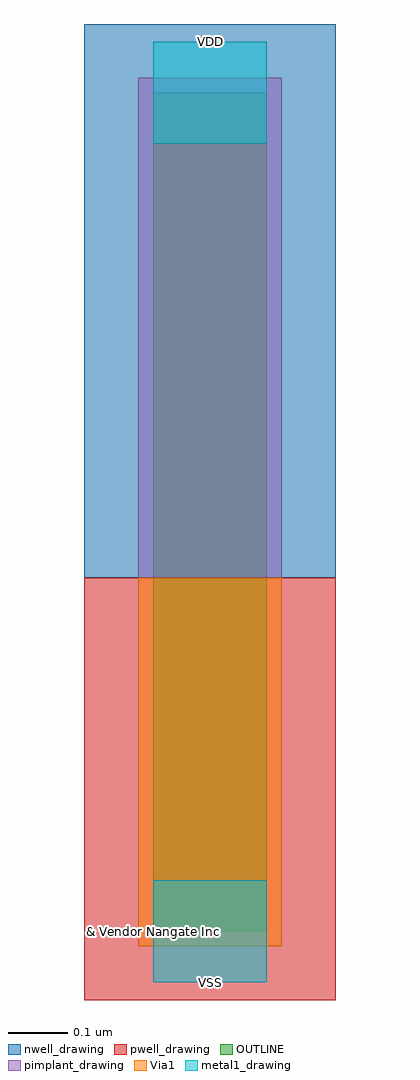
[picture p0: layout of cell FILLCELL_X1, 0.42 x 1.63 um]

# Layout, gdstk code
import gdstk
lib = gdstk.Library(unit=1e-6, precision=1e-10)
def R(c, l, rs):  # rectangles x0, y0, x1, y1
    for r in rs: c.add(gdstk.rectangle(r[:2], r[2:], *l))
pwell_drawing = (2, 0)
nwell_drawing = (3, 0)
Via1 = (4, 0)
pimplant_drawing = (5, 0)
metal1_drawing = (11, 0)
OUTLINE = (235, 0)

fillcell_x1 = lib.new_cell('FILLCELL_X1')
R(fillcell_x1, pwell_drawing, [(-0.115,-0.115,0.305,0.59)])
R(fillcell_x1, nwell_drawing, [(-0.115,0.59,0.305,1.515)])
R(fillcell_x1, Via1, [(-0.025,-0.025,0.215,0.59)])
R(fillcell_x1, pimplant_drawing, [(-0.025,0.59,0.215,1.425)])
R(fillcell_x1, metal1_drawing, [(0,-0.085,0.19,0.085), (0,1.315,0.19,1.485)])
R(fillcell_x1, OUTLINE, [(0,0,0.19,1.4)])
fillcell_x1.add(gdstk.Label('VDD', (0.095,1.485), layer=11, texttype=0))
fillcell_x1.add(gdstk.Label('VSS', (0.095,-0.085), layer=11, texttype=0))
fillcell_x1.add(gdstk.Label('& Vendor Nangate Inc', (0,0), layer=63, texttype=63))
fillcell_x1.add(gdstk.Label('& Product Open Cell Library', (0,0), layer=63, texttype=63))
fillcell_x1.add(gdstk.Label('& Version 2010_12', (0,0), layer=63, texttype=63))
fillcell_x1.add(gdstk.Label('& Instance FILLCELL_X1', (0,0), layer=63, texttype=63))

lib.write_gds('FILLCELL_X1.gds')
